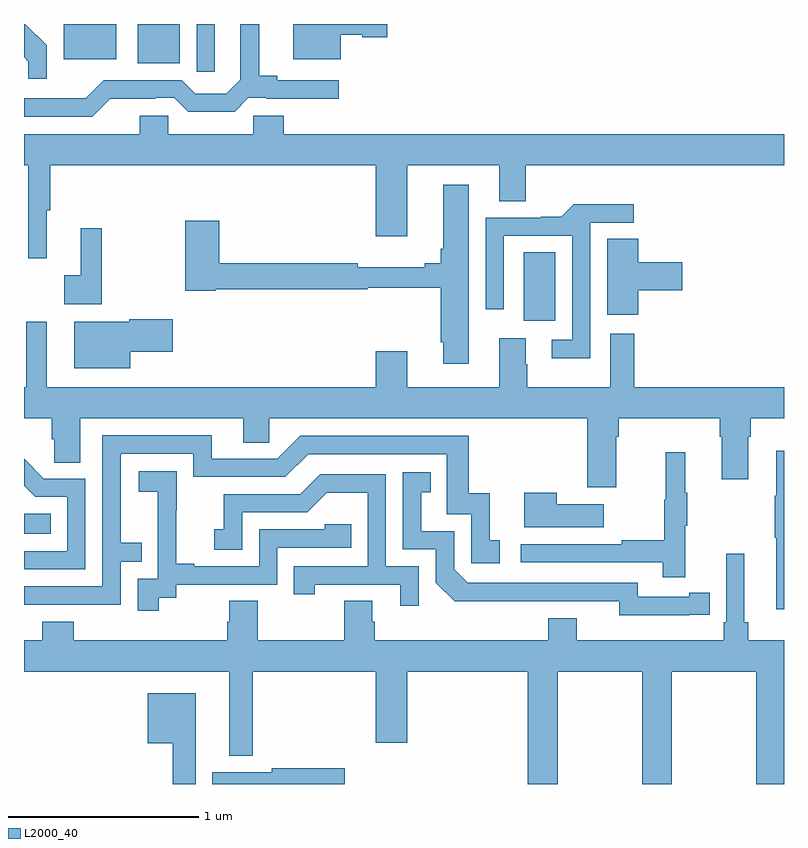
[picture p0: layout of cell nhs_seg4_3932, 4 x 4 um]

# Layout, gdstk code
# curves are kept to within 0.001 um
import gdstk
lib = gdstk.Library(unit=1e-6, precision=1e-09)
def R(c, l, rs):  # rectangles x0, y0, x1, y1
    for r in rs: c.add(gdstk.rectangle(r[:2], r[2:], *l))
def P(c, l, *ps):  # polygons
    for p in ps: c.add(gdstk.Polygon(p, *l))
L2000_40 = (2000, 40)

nhs_seg4_3932 = lib.new_cell('nhs_seg4_3932')
R(nhs_seg4_3932, L2000_40, [(319,792.218,319.142,792.322), (321.629,793.338,321.796,793.7), (319.908,794.649,320.005,794.9), (319.598,794.693,319.819,794.9), (319.208,794.714,319.486,794.9)])
P(nhs_seg4_3932, L2000_40, [(319.454,794.507),(319.691,794.507),(319.691,794.511),(319.791,794.511),(319.864,794.438),(320.108,794.438),(320.181,794.511),(320.275,794.511),(320.275,794.507),(320.656,794.507),(320.656,794.604),(320.332,794.604),(320.332,794.627),(320.237,794.627),(320.237,794.9),(320.138,794.9),(320.138,794.606),(320.065,794.533),(319.901,794.533),(319.83,794.604),(319.419,794.604),(319.325,794.51),(319.22,794.51),(319.22,794.508),(319,794.508),(319,794.412),(319.359,794.412)],
  [(320.668,794.843),(320.781,794.843),(320.781,794.831),(320.911,794.831),(320.911,794.9),(320.417,794.9),(320.417,794.714),(320.668,794.714)],
  [(319.119,794.788),(319.007,794.9),(319,794.9),(319,794.725),(319.023,794.702),(319.023,794.611),(319.119,794.611)],
  [(319.121,793.92),(319.139,793.92),(319.139,794.156),(320.852,794.156),(320.852,793.782),(321.016,793.782),(321.016,794.156),(321.5,794.156),(321.5,793.966),(321.64,793.966),(321.64,794.156),(323,794.156),(323,794.32),(320.366,794.32),(320.366,794.418),(320.207,794.418),(320.207,794.32),(319.76,794.32),(319.76,794.418),(319.61,794.418),(319.61,794.32),(319,794.32),(319,794.156),(319.022,794.156),(319.022,793.668),(319.121,793.668)],
  [(321.34,794.053),(321.206,794.053),(321.206,793.717),(321.194,793.717),(321.194,793.64),(321.11,793.64),(321.11,793.621),(320.756,793.621),(320.756,793.64),(320.027,793.64),(320.027,793.864),(319.849,793.864),(319.849,793.496),(320.01,793.496),(320.01,793.504),(320.81,793.504),(320.81,793.512),(321.194,793.512),(321.194,793.225),(321.206,793.225),(321.206,793.113),(321.34,793.113)],
  [(321.981,793.854),(322.21,793.854),(322.21,793.952),(321.893,793.952),(321.827,793.886),(321.719,793.886),(321.719,793.881),(321.429,793.881),(321.429,793.398),(321.525,793.398),(321.525,793.785),(321.885,793.785),(321.885,793.239),(321.777,793.239),(321.777,793.142),(321.981,793.142)],
  [(319.408,793.825),(319.298,793.825),(319.298,793.577),(319.212,793.577),(319.212,793.424),(319.408,793.424)],
  [(322.232,793.499),(322.465,793.499),(322.465,793.646),(322.232,793.646),(322.232,793.769),(322.07,793.769),(322.07,793.371),(322.232,793.371)],
  [(319.558,793.175),(319.783,793.175),(319.783,793.346),(319.554,793.346),(319.554,793.333),(319.265,793.333),(319.265,793.088),(319.558,793.088)],
  [(322.117,792.728),(322.13,792.728),(322.13,792.824),(322.661,792.824),(322.661,792.728),(322.673,792.728),(322.673,792.504),(322.813,792.504),(322.813,792.728),(322.826,792.728),(322.826,792.824),(323,792.824),(323,792.988),(322.211,792.988),(322.211,793.27),(322.085,793.27),(322.085,792.988),(321.648,792.988),(321.648,793.109),(321.64,793.109),(321.64,793.246),(321.5,793.246),(321.5,792.988),(321.016,792.988),(321.016,793.177),(320.852,793.177),(320.852,792.988),(319.12,792.988),(319.12,793.333),(319.011,793.333),(319.011,792.988),(319,792.988),(319,792.824),(319.145,792.824),(319.145,792.715),(319.158,792.715),(319.158,792.592),(319.297,792.592),(319.297,792.824),(320.153,792.824),(320.153,792.697),(320.292,792.697),(320.292,792.824),(321.965,792.824),(321.965,792.462),(322.117,792.462)],
  [(319.013,791.844),(319.509,791.844),(319.509,792.069),(319.619,792.069),(319.619,792.17),(319.509,792.17),(319.509,792.639),(319.89,792.639),(319.89,792.516),(320.376,792.516),(320.496,792.636),(321.225,792.636),(321.225,792.321),(321.354,792.321),(321.354,792.063),(321.505,792.063),(321.505,792.183),(321.452,792.183),(321.452,792.43),(321.341,792.43),(321.341,792.732),(320.454,792.732),(320.334,792.612),(319.987,792.612),(319.987,792.735),(319.413,792.735),(319.413,791.94),(319,791.94),(319,791.843)],
  [(323,792.655),(322.958,792.655),(322.958,792.416),(322.951,792.416),(322.951,792.195),(322.958,792.195),(322.958,791.82),(323,791.82)],
  [(322.481,792.259),(322.492,792.259),(322.492,792.433),(322.481,792.433),(322.481,792.646),(322.378,792.646),(322.378,792.396),(322.371,792.396),(322.371,792.182),(322.147,792.182),(322.147,792.162),(321.615,792.162),(321.615,792.066),(322.363,792.066),(322.363,791.988),(322.481,791.988)],
  [(319.323,792.507),(319.104,792.507),(319,792.611),(319,792.469),(319.058,792.411),(319.227,792.411),(319.227,792.126),(319,792.126),(319,792.03),(319.323,792.03)],
  [(319.708,791.881),(319.8,791.881),(319.8,791.949),(320.334,791.949),(320.334,792.144),(320.723,792.144),(320.723,792.267),(320.583,792.267),(320.583,792.24),(320.238,792.24),(320.238,792.045),(319.897,792.045),(319.897,792.058),(319.802,792.058),(319.802,792.341),(319.803,792.341),(319.803,792.547),(319.605,792.547),(319.605,792.437),(319.703,792.437),(319.703,792.209),(319.704,792.209),(319.704,791.979),(319.599,791.979),(319.599,791.811),(319.708,791.811)],
  [(322.502,791.79),(322.61,791.79),(322.61,791.906),(322.502,791.906),(322.502,791.886),(322.23,791.886),(322.23,791.958),(321.336,791.958),(321.264,792.03),(321.264,792.231),(321.091,792.231),(321.091,792.435),(321.14,792.435),(321.14,792.541),(320.994,792.541),(320.994,792.135),(321.168,792.135),(321.168,791.958),(321.266,791.861),(322.134,791.862),(322.134,791.789)],
  [(321.078,792.045),(320.904,792.045),(320.904,792.531),(320.558,792.531),(320.453,792.426),(320.05,792.426),(320.05,792.241),(320.001,792.241),(320.001,792.132),(320.148,792.132),(320.148,792.33),(320.49,792.33),(320.594,792.434),(320.808,792.434),(320.808,792.045),(320.419,792.045),(320.419,791.898),(320.53,791.898),(320.53,791.949),(320.981,791.949),(320.981,791.838),(321.078,791.838)],
  [(322.051,792.373),(321.803,792.373),(321.803,792.433),(321.632,792.433),(321.632,792.251),(322.051,792.251)],
  [(321.81,791.492),(322.255,791.492),(322.255,790.9),(322.41,790.9),(322.41,791.492),(322.855,791.492),(322.855,790.9),(323,790.9),(323,791.656),(322.811,791.656),(322.811,791.752),(322.792,791.752),(322.792,792.112),(322.695,792.112),(322.695,791.752),(322.682,791.752),(322.682,791.656),(321.91,791.656),(321.91,791.773),(321.758,791.773),(321.758,791.656),(320.846,791.656),(320.846,791.754),(320.833,791.754),(320.833,791.864),(320.686,791.864),(320.686,791.656),(320.229,791.656),(320.229,791.864),(320.081,791.864),(320.081,791.754),(320.069,791.754),(320.069,791.656),(319.262,791.656),(319.262,791.755),(319.097,791.755),(319.097,791.656),(319,791.656),(319,791.492),(320.081,791.492),(320.081,791.048),(320.203,791.048),(320.203,791.492),(320.852,791.492),(320.852,791.118),(321.016,791.118),(321.016,791.492),(321.65,791.492),(321.65,790.9),(321.81,790.9)],
  [(319.903,791.377),(319.652,791.377),(319.652,791.114),(319.782,791.114),(319.782,790.9),(319.903,790.9)],
  [(320.689,790.982),(320.304,790.982),(320.304,790.963),(319.991,790.963),(319.991,790.9),(320.689,790.9)])

lib.write_gds('nhs_seg4_3932.gds')
